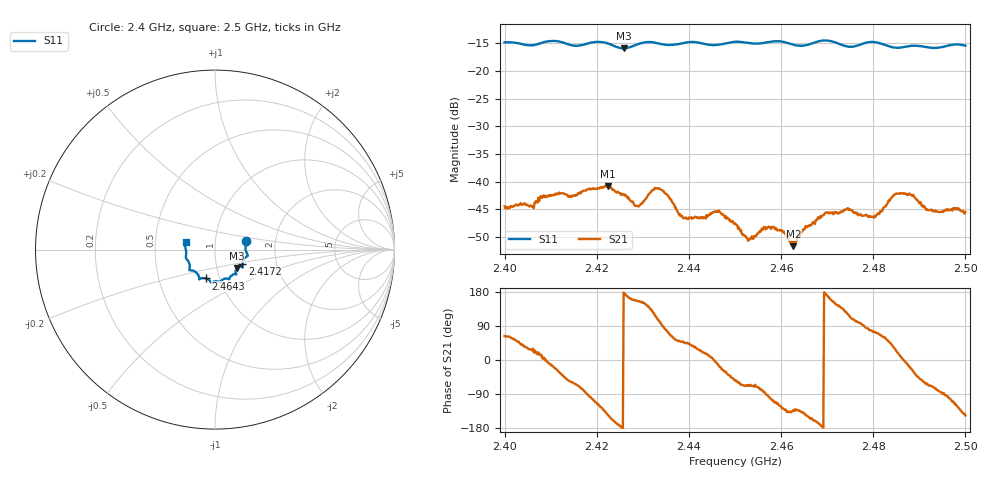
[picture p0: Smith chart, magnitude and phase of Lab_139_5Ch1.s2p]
# Hz S RI R 50
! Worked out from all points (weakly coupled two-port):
!   601 points, 2.4 GHz to 2.5 GHz, reference 50 ohm
!   highest |S21| = -40.78 dB at 2.4225 GHz (marker M1); lowest = -51.6 dB at 2.4627 GHz (marker M2)
!   lowest |S11| = -15.9 dB at 2.4258 GHz (marker M3), VSWR 1.38, Z = 62.3 - j13.3 ohm
!   |S11| at or under -10 dB: start of sweep to end of sweep
!   S12 and S22 are empty: the file has one direction only
!   S11 on the Smith chart (normalised r, x): 2.4 GHz: 1.41, +0.14; 2.4172 GHz: 1.34, -0.22; 2.4643 GHz: 0.86, -0.29; 2.5 GHz: 0.72, +0.06
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2.4e9  0.1737 0.0493  0.00271 0.00536  0 0  0 0
2.405833e9  0.1701 0.0034  0.00536 0.00265  0 0  0 0
2.416667e9  0.1534 -0.0744  0.00193 -0.00779  0 0  0 0
2.417167e9  0.1527 -0.0801  0.0014 -0.00815  0 0  0 0
2.4225e9  0.1488 -0.0943  -0.00763 -0.00503  0 0  0 0
2.425833e9  0.1216 -0.1037  -0.00769 0.000198  0 0  0 0
2.428833e9  0.1151 -0.1301  -0.00549 0.0025  0 0  0 0
2.433333e9  0.1131 -0.1364  -0.00233 0.00832  0 0  0 0
2.438667e9  0.0815 -0.1583  0.00312 0.00356  0 0  0 0
2.446167e9  0.0462 -0.1653  0.00534 -0.000949  0 0  0 0
2.45e9  0.0293 -0.1807  0.00254 -0.00336  0 0  0 0
2.452833e9  0.0184 -0.1779  0.00119 -0.00267  0 0  0 0
2.457833e9  -0.0176 -0.1828  -0.000836 -0.00364  0 0  0 0
2.462667e9  -0.0336 -0.1689  -0.00184 -0.00186  0 0  0 0
2.464333e9  -0.0498 -0.1608  -0.00253 -0.00236  0 0  0 0
2.466667e9  -0.076 -0.1596  -0.00369 -0.00183  0 0  0 0
2.474333e9  -0.1 -0.1325  -0.00306 0.00482  0 0  0 0
2.48e9  -0.1429 -0.1135  0.00133 0.00456  0 0  0 0
2.483333e9  -0.1407 -0.0902  0.00443 0.00512  0 0  0 0
2.486667e9  -0.1535 -0.0587  0.00775 -0.00013  0 0  0 0
2.491833e9  -0.1611 -0.027  0.0024 -0.00497  0 0  0 0
2.5e9  -0.1638 0.0419  -0.00444 -0.00294  0 0  0 0
